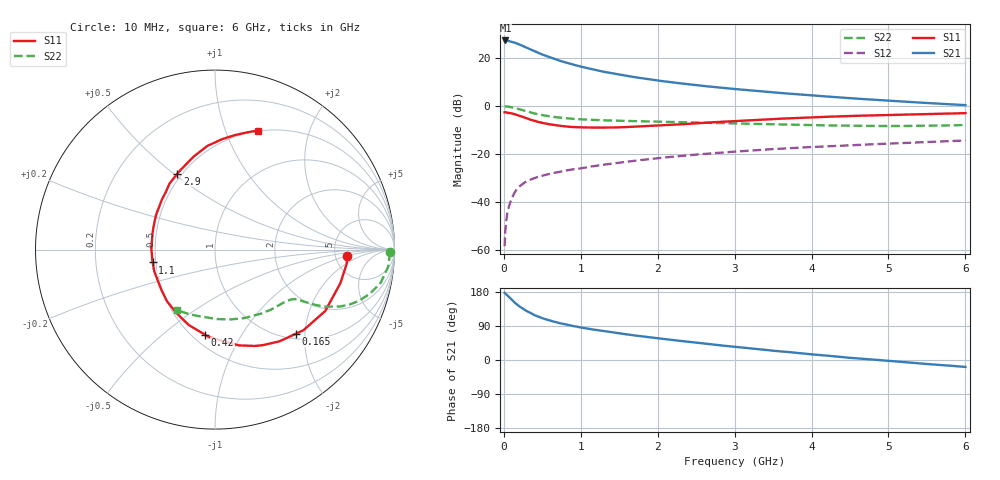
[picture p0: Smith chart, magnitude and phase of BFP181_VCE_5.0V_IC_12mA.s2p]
! Infineon Technologies  Discrete & RF Semiconductors
! BFP181
! VCE = 5.0 V,  IC =  12 mA
! Common Emitter S-Parameters:  Jan 2016
# GHz  S  MA  R  50
!  f  S11  S21  S12  S22
! GHz  MAG  ANG  MAG  ANG  MAG  ANG  MAG  ANG
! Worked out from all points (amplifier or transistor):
!   210 points, 10 MHz to 6 GHz, reference 50 ohm
!   highest |S21| = 27.2 dB at 20 MHz (marker M1)
!   |S21| within 3 dB of that: start of sweep to 297.3 MHz
!   unconditionally stable (mu >= 1): 1.128 GHz to end of sweep
!   at 185 MHz: K = 0.29, MSG = 30.0 dB, |S12| = -34.2 dB
!   at 1.52 GHz: K = 1.10, MAG = 16.3 dB, |S12| = -23.6 dB
!   at 6 GHz: K = 1.00, MAG = 7.2 dB, |S12| = -14.4 dB
!   S11 on the Smith chart (normalised r, x): 10 MHz: 6.33, -1.05; 165 MHz: 1.11, -1.81; 420 MHz: 0.58, -0.71; 1.1 GHz: 0.48, -0.08; 2.9 GHz: 0.47, +0.51; 6 GHz: 0.49, +1.31
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0.01  0.7338 -3.0  22.93 177.3  0.0012 84.8  0.9776 -0.9
0.02  0.7385 -5.9  23.03 175.7  0.0026 83.0  0.9738 -2.2
0.05  0.7233 -14.9  22.73 169.3  0.0064 86.3  0.9692 -5.7
0.1  0.7032 -29.1  21.64 159.5  0.0115 74.5  0.9421 -11.2
0.15  0.6669 -42.3  20.51 150.0  0.0167 69.8  0.8995 -15.7
0.165  0.651 -45.9  20.06 147.7  0.0179 68.2  0.8852 -16.8
0.2  0.6247 -54.9  19.16 141.9  0.0208 65.2  0.8531 -19.5
0.26  0.5808 -67.6  17.27 133.6  0.0247 61.5  0.7988 -22.8
0.3  0.5497 -76.1  16.23 128.8  0.0273 59.1  0.7654 -24.5
0.42  0.4773 -96.7  13.34 116.7  0.0323 54.2  0.6833 -27.6
0.5  0.4448 -109.3  11.71 110.2  0.035 52.1  0.641 -28.8
0.6  0.4123 -121.8  10.24 103.9  0.0389 51.3  0.6031 -29.6
0.7  0.3926 -133.1  8.949 98.5  0.0414 51.1  0.5746 -30.3
1.02  0.3578 -162.2  6.453 85.1  0.0507 50.7  0.523 -31.8
1.1  0.355 -168.4  6.031 82.2  0.0536 50.9  0.5154 -32.4
1.5  0.3577 168.1  4.489 70.1  0.0657 50.3  0.49 -35.9
2.02  0.3894 144.0  3.341 57.0  0.082 48.3  0.4693 -42.2
2.9  0.4721 116.4  2.326 36.9  0.1086 42.9  0.4356 -55.7
3.1  0.491 111.3  2.175 33.0  0.1143 41.5  0.4273 -59.1
4.1  0.5858 92.5  1.61 13.3  0.1415 33.9  0.3956 -79.1
5.1  0.6531 79.0  1.254 -3.9  0.1665 26.6  0.3808 -101.6
6  0.7057 70.0  1.038 -18.3  0.1902 19.5  0.3992 -122.5
